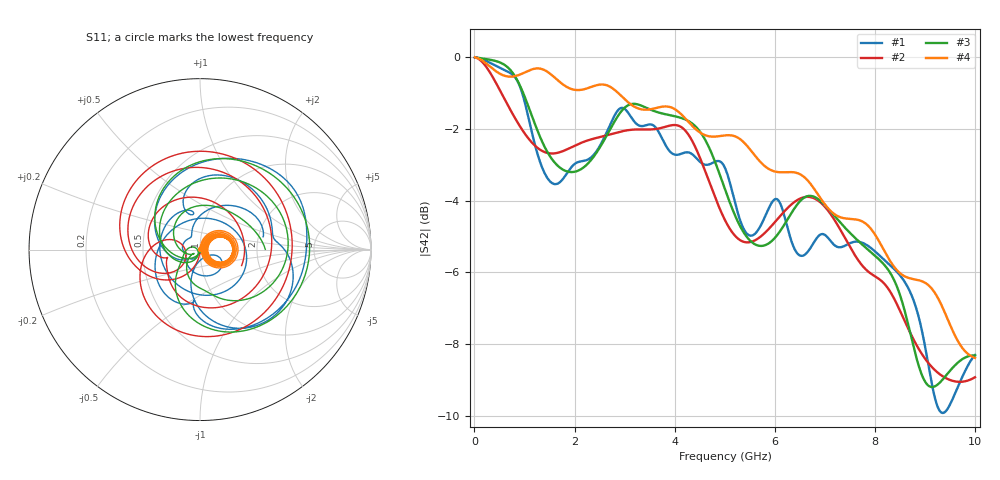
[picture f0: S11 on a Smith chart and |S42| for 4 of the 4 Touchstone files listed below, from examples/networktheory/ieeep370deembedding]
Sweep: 10 MHz to 10 GHz
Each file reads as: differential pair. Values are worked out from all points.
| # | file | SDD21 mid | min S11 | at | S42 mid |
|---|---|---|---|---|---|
| 1 | deembedded_MM_NZC_diff_fdf_with_connectors.s4p | -1.3 dB at 5.01 GHz | -48.5 dB | 10 MHz | -3.1 dB at 5.01 GHz |
| 2 | deembedded_MM_ZC_diff_fdf.s4p | -3.0 dB at 5.01 GHz | -40.8 dB | 10 MHz | -4.6 dB at 5.01 GHz |
| 3 | deembedded_MM_ZC_diff_fdf_with_connectors.s4p | -1.6 dB at 5.01 GHz | -53.9 dB | 10 MHz | -3.7 dB at 5.01 GHz |
| 4 | diff_2xthru.s4p | -0.8 dB at 5.01 GHz | -44.8 dB | 10 MHz | -2.2 dB at 5.01 GHz |
